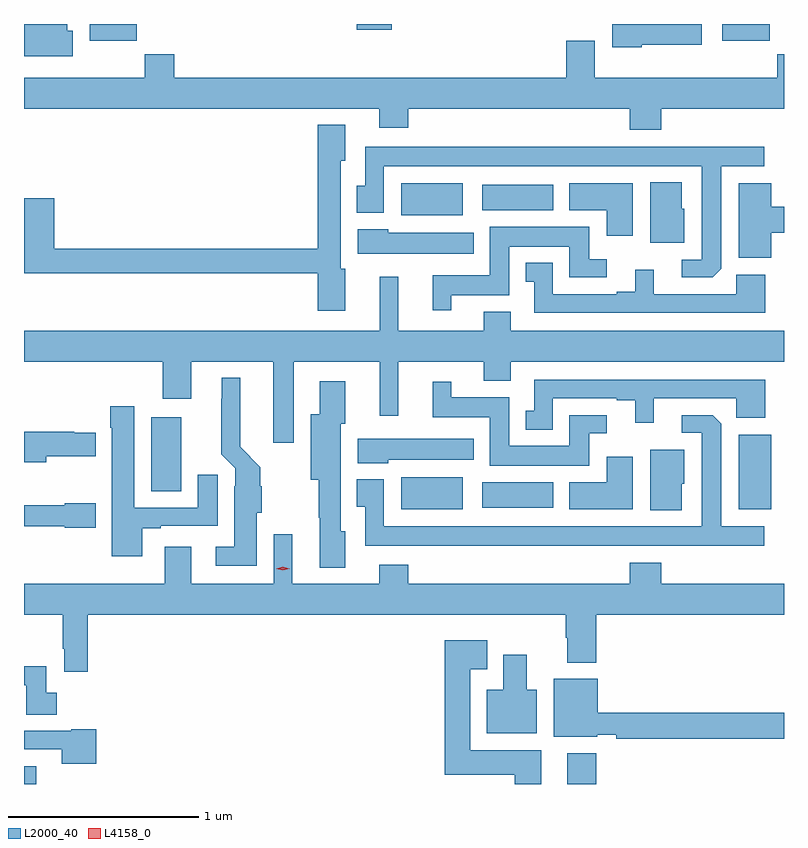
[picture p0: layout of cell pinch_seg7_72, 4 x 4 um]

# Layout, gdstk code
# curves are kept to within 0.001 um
import gdstk
lib = gdstk.Library(unit=1e-6, precision=1e-09)
def R(c, l, rs):  # rectangles x0, y0, x1, y1
    for r in rs: c.add(gdstk.rectangle(r[:2], r[2:], *l))
def P(c, l, *ps):  # polygons
    for p in ps: c.add(gdstk.Polygon(p, *l))
L2000_40 = (2000, 40)
L4158_0 = (4158, 0)

pinch_seg7_72 = lib.new_cell('pinch_seg7_72')
R(pinch_seg7_72, L2000_40, [(998.966,1060.998,999.031,1061.091), (1001.825,1060.998,1001.978,1061.161), (1000.952,1062.443,1001.275,1062.613), (1002.728,1062.443,1002.899,1062.835), (1001.379,1062.452,1001.752,1062.586), (999.635,1062.538,999.793,1062.928), (1000.952,1063.991,1001.275,1064.161), (1001.379,1064.018,1001.752,1064.152), (999.311,1064.91,999.56,1064.998), (1002.641,1064.91,1002.89,1064.998), (1000.718,1064.967,1000.901,1064.998)])
P(pinch_seg7_72, L2000_40, [(999.223,1064.963),(999.193,1064.963),(999.193,1064.998),(998.966,1064.998),(998.966,1064.828),(999.223,1064.828)],
  [(1002.216,1064.888),(1002.532,1064.888),(1002.532,1064.998),(1002.062,1064.998),(1002.062,1064.876),(1002.216,1064.876)],
  [(1002.32,1064.552),(1002.966,1064.552),(1002.966,1064.84),(1002.931,1064.84),(1002.931,1064.716),(1001.971,1064.716),(1001.971,1064.911),(1001.819,1064.911),(1001.819,1064.716),(999.758,1064.716),(999.758,1064.84),(999.601,1064.84),(999.601,1064.716),(998.966,1064.716),(998.966,1064.552),(1000.835,1064.552),(1000.835,1064.453),(1000.988,1064.453),(1000.988,1064.552),(1002.155,1064.552),(1002.155,1064.441),(1002.32,1064.441)],
  [(1000.657,1063.71),(1000.633,1063.71),(1000.633,1064.277),(1000.657,1064.277),(1000.657,1064.467),(1000.511,1064.467),(1000.511,1063.814),(999.125,1063.814),(999.125,1064.08),(998.966,1064.08),(998.966,1063.686),(1000.511,1063.686),(1000.511,1063.488),(1000.657,1063.488)],
  [(1002.636,1063.711),(1002.637,1064.249),(1002.862,1064.249),(1002.862,1064.353),(1000.763,1064.353),(1000.763,1064.148),(1000.718,1064.148),(1000.718,1064.004),(1000.86,1064.004),(1000.86,1064.249),(1002.533,1064.249),(1002.533,1063.758),(1002.429,1063.758),(1002.429,1063.665),(1002.59,1063.665)],
  [(1002.442,1064.025),(1002.427,1064.025),(1002.427,1064.164),(1002.263,1064.164),(1002.263,1063.848),(1002.442,1063.848)],
  [(1002.169,1064.161),(1001.837,1064.161),(1001.837,1064.018),(1002.032,1064.018),(1002.032,1063.884),(1002.169,1063.884)],
  [(1002.899,1063.9),(1002.966,1063.9),(1002.966,1064.036),(1002.899,1064.036),(1002.899,1064.161),(1002.728,1064.161),(1002.728,1063.769),(1002.899,1063.769)],
  [(1001.215,1063.571),(1001.521,1063.571),(1001.521,1063.826),(1001.837,1063.826),(1001.837,1063.665),(1002.034,1063.665),(1002.034,1063.761),(1001.941,1063.761),(1001.941,1063.93),(1001.417,1063.93),(1001.417,1063.675),(1001.117,1063.675),(1001.117,1063.491),(1001.215,1063.491)],
  [(1001.332,1063.9),(1000.884,1063.9),(1000.884,1063.918),(1000.722,1063.918),(1000.722,1063.79),(1001.332,1063.79)],
  [(1002.866,1063.678),(1002.714,1063.678),(1002.714,1063.575),(1002.28,1063.575),(1002.28,1063.705),(1002.182,1063.705),(1002.182,1063.588),(1002.086,1063.588),(1002.086,1063.575),(1001.748,1063.575),(1001.748,1063.741),(1001.606,1063.741),(1001.606,1063.641),(1001.652,1063.641),(1001.652,1063.479),(1002.866,1063.479)],
  [(1000.387,1063.22),(1000.838,1063.22),(1000.838,1062.936),(1000.937,1062.936),(1000.937,1063.22),(1001.387,1063.22),(1001.387,1063.121),(1001.527,1063.121),(1001.527,1063.22),(1002.966,1063.22),(1002.966,1063.384),(1001.527,1063.384),(1001.527,1063.483),(1001.387,1063.483),(1001.387,1063.384),(1000.937,1063.384),(1000.937,1063.669),(1000.838,1063.669),(1000.838,1063.384),(998.966,1063.384),(998.966,1063.22),(999.695,1063.22),(999.695,1063.026),(999.847,1063.026),(999.847,1063.22),(1000.277,1063.22),(1000.277,1062.795),(1000.387,1062.795)],
  [(1000.192,1062.426),(1000.218,1062.426),(1000.218,1062.566),(1000.21,1062.566),(1000.21,1062.666),(1000.105,1062.772),(1000.105,1063.135),(1000.007,1063.135),(1000.007,1063.025),(1000.004,1063.025),(1000.004,1062.733),(1000.077,1062.66),(1000.077,1062.566),(1000.073,1062.566),(1000.073,1062.247),(999.975,1062.247),(999.975,1062.146),(1000.192,1062.146)],
  [(1001.748,1063.029),(1002.086,1063.029),(1002.086,1063.017),(1002.182,1063.017),(1002.182,1062.9),(1002.28,1062.9),(1002.28,1063.029),(1002.714,1063.029),(1002.714,1062.926),(1002.866,1062.926),(1002.866,1063.125),(1001.652,1063.125),(1001.652,1062.963),(1001.606,1062.963),(1001.606,1062.863),(1001.748,1062.863)],
  [(1000.657,1062.327),(1000.633,1062.327),(1000.633,1062.894),(1000.657,1062.894),(1000.657,1063.117),(1000.523,1063.117),(1000.523,1062.943),(1000.475,1062.943),(1000.475,1062.599),(1000.516,1062.599),(1000.516,1062.4),(1000.523,1062.4),(1000.523,1062.137),(1000.657,1062.137)],
  [(1001.941,1062.843),(1002.034,1062.843),(1002.034,1062.939),(1001.837,1062.939),(1001.837,1062.778),(1001.521,1062.778),(1001.521,1063.033),(1001.215,1063.033),(1001.215,1063.114),(1001.117,1063.114),(1001.117,1062.929),(1001.417,1062.929),(1001.417,1062.674),(1001.941,1062.674)],
  [(999.589,1062.345),(999.685,1062.345),(999.685,1062.357),(999.985,1062.357),(999.985,1062.625),(999.881,1062.625),(999.881,1062.453),(999.547,1062.453),(999.547,1062.985),(999.42,1062.985),(999.42,1062.872),(999.428,1062.872),(999.428,1062.198),(999.589,1062.198)],
  [(1002.862,1062.355),(1002.637,1062.355),(1002.636,1062.893),(1002.59,1062.939),(1002.429,1062.939),(1002.429,1062.846),(1002.533,1062.846),(1002.533,1062.355),(1000.86,1062.355),(1000.86,1062.601),(1000.718,1062.601),(1000.718,1062.457),(1000.763,1062.457),(1000.763,1062.251),(1002.862,1062.251)],
  [(999.082,1062.722),(999.343,1062.722),(999.343,1062.848),(999.23,1062.848),(999.23,1062.852),(998.966,1062.852),(998.966,1062.691),(999.082,1062.691)],
  [(1000.884,1062.704),(1001.332,1062.704),(1001.332,1062.814),(1000.722,1062.814),(1000.722,1062.686),(1000.884,1062.686)],
  [(1002.427,1062.579),(1002.442,1062.579),(1002.442,1062.757),(1002.263,1062.757),(1002.263,1062.44),(1002.427,1062.44)],
  [(1002.169,1062.721),(1002.032,1062.721),(1002.032,1062.586),(1001.837,1062.586),(1001.837,1062.443),(1002.169,1062.443)],
  [(999.343,1062.475),(999.18,1062.475),(999.18,1062.465),(998.966,1062.465),(998.966,1062.354),(999.18,1062.354),(999.18,1062.346),(999.343,1062.346)],
  [(999.301,1061.888),(1001.818,1061.888),(1001.818,1061.768),(1001.825,1061.768),(1001.825,1061.636),(1001.978,1061.636),(1001.978,1061.888),(1002.966,1061.888),(1002.966,1062.052),(1002.32,1062.052),(1002.32,1062.163),(1002.155,1062.163),(1002.155,1062.052),(1000.988,1062.052),(1000.988,1062.151),(1000.835,1062.151),(1000.835,1062.052),(1000.378,1062.052),(1000.378,1062.313),(1000.281,1062.313),(1000.281,1062.052),(999.847,1062.052),(999.847,1062.247),(999.707,1062.247),(999.707,1062.052),(998.966,1062.052),(998.966,1061.888),(999.169,1061.888),(999.169,1061.71),(999.179,1061.71),(999.179,1061.589),(999.301,1061.589)],
  [(1001.689,1061.176),(1001.314,1061.176),(1001.314,1061.603),(1001.404,1061.603),(1001.404,1061.755),(1001.18,1061.755),(1001.18,1061.048),(1001.549,1061.048),(1001.549,1060.998),(1001.689,1060.998)],
  [(1001.665,1061.494),(1001.611,1061.494),(1001.611,1061.677),(1001.489,1061.677),(1001.489,1061.494),(1001.402,1061.494),(1001.402,1061.264),(1001.665,1061.264)],
  [(999.139,1061.478),(999.082,1061.478),(999.082,1061.618),(998.966,1061.618),(998.966,1061.517),(998.978,1061.517),(998.978,1061.362),(999.139,1061.362)],
  [(1002.966,1061.372),(1001.986,1061.372),(1001.986,1061.551),(1001.753,1061.551),(1001.753,1061.246),(1001.982,1061.246),(1001.982,1061.256),(1002.082,1061.256),(1002.082,1061.236),(1002.966,1061.236)],
  [(999.347,1061.285),(999.215,1061.285),(999.215,1061.277),(998.966,1061.277),(998.966,1061.181),(999.164,1061.181),(999.164,1061.105),(999.347,1061.105)])
P(pinch_seg7_72, L4158_0, [(1000.329,1062.122),(1000.293,1062.131),(1000.293,1062.132),(1000.293,1062.132),(1000.329,1062.142),(1000.364,1062.132),(1000.364,1062.132),(1000.364,1062.131)])

lib.write_gds('pinch_seg7_72.gds')
